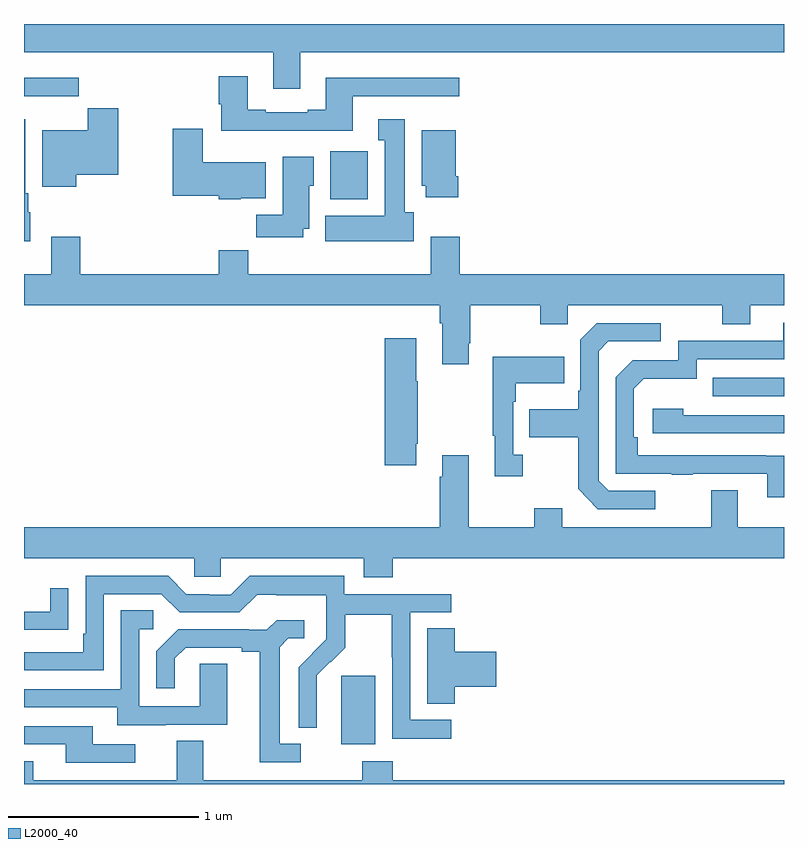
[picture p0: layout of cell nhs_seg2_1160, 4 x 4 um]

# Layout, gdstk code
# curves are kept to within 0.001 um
import gdstk
lib = gdstk.Library(unit=1e-6, precision=1e-09)
def R(c, l, rs):  # rectangles x0, y0, x1, y1
    for r in rs: c.add(gdstk.rectangle(r[:2], r[2:], *l))
def P(c, l, *ps):  # polygons
    for p in ps: c.add(gdstk.Polygon(p, *l))
L2000_40 = (2000, 40)

nhs_seg2_1160 = lib.new_cell('nhs_seg2_1160')
R(nhs_seg2_1160, L2000_40, [(172.67,628.01,172.849,628.371), (174.625,629.841,175,629.937), (172.613,630.878,172.809,631.129)])
P(nhs_seg2_1160, L2000_40, [(172.453,631.652),(175,631.652),(175,631.8),(171,631.8),(171,631.652),(172.313,631.652),(172.313,631.458),(172.453,631.458)],
  [(172.729,631.419),(173.29,631.419),(173.29,631.516),(172.589,631.516),(172.589,631.348),(172.493,631.348),(172.493,631.335),(172.273,631.335),(172.273,631.348),(172.177,631.348),(172.177,631.525),(172.025,631.525),(172.025,631.377),(172.037,631.377),(172.037,631.238),(172.729,631.238)],
  [(171.179,631.421),(171.288,631.421),(171.288,631.516),(171,631.516),(171,631.419),(171.179,631.419)],
  [(171.274,631.007),(171.496,631.007),(171.496,631.356),(171.335,631.356),(171.335,631.24),(171.095,631.24),(171.095,630.944),(171.274,630.944)],
  [(171.034,630.81),(171.022,630.81),(171.022,630.91),(171.007,630.91),(171.007,631.3),(171,631.3),(171,630.656),(171.034,630.656)],
  [(173.05,630.81),(173.005,630.81),(173.005,631.3),(172.865,631.3),(172.865,631.187),(172.898,631.187),(172.898,630.79),(172.586,630.79),(172.586,630.656),(173.05,630.656)],
  [(172.14,630.884),(172.273,630.884),(172.273,631.072),(171.94,631.072),(171.94,631.249),(171.782,631.249),(171.782,630.896),(172.026,630.896),(172.026,630.878),(172.14,630.878)],
  [(173.285,631),(173.272,631),(173.272,631.24),(173.093,631.24),(173.093,630.948),(173.114,630.948),(173.114,630.888),(173.285,630.888)],
  [(172.471,630.722),(172.501,630.722),(172.501,630.948),(172.525,630.948),(172.525,631.102),(172.361,631.102),(172.361,630.796),(172.222,630.796),(172.222,630.678),(172.471,630.678)],
  [(173.341,630.121),(173.349,630.121),(173.349,630.32),(173.716,630.32),(173.716,630.221),(173.862,630.221),(173.862,630.32),(174.676,630.32),(174.676,630.221),(174.823,630.221),(174.823,630.32),(175,630.32),(175,630.484),(173.294,630.484),(173.294,630.679),(173.141,630.679),(173.141,630.484),(172.181,630.484),(172.181,630.608),(172.025,630.608),(172.025,630.484),(171.296,630.484),(171.296,630.679),(171.143,630.679),(171.143,630.484),(171,630.484),(171,630.32),(173.189,630.32),(173.189,630.224),(173.201,630.224),(173.201,630.009),(173.341,630.009)],
  [(175,629.528),(174.23,629.529),(174.23,629.626),(174.21,629.626),(174.21,629.88),(174.263,629.933),(174.54,629.933),(174.54,630.036),(175,630.036),(175,630.228),(174.995,630.228),(174.995,630.132),(174.444,630.132),(174.444,630.03),(174.204,630.03),(174.114,629.94),(174.114,629.433),(174.409,629.433),(174.409,629.428),(174.521,629.428),(174.521,629.433),(174.911,629.433),(174.911,629.31),(175,629.31)],
  [(174.322,629.343),(174.078,629.343),(174.024,629.397),(174.024,630.078),(174.075,630.129),(174.352,630.129),(174.352,630.225),(174.015,630.225),(173.928,630.138),(173.928,629.869),(173.916,629.869),(173.916,629.773),(173.659,629.773),(173.659,629.626),(173.916,629.626),(173.916,629.353),(174.021,629.247),(174.322,629.247)],
  [(173.065,629.59),(173.073,629.59),(173.073,629.921),(173.065,629.921),(173.065,630.145),(172.898,630.145),(172.898,629.478),(173.065,629.478)],
  [(173.626,629.534),(173.574,629.534),(173.574,629.813),(173.587,629.813),(173.587,629.909),(173.843,629.909),(173.843,630.049),(173.466,630.049),(173.466,629.633),(173.477,629.633),(173.477,629.421),(173.626,629.421)],
  [(175,629.742),(174.47,629.742),(174.47,629.776),(174.309,629.776),(174.309,629.646),(175,629.646)],
  [(175,629.152),(174.757,629.152),(174.757,629.347),(174.617,629.347),(174.617,629.152),(173.833,629.152),(173.833,629.251),(173.686,629.251),(173.686,629.152),(173.341,629.152),(173.341,629.53),(173.201,629.53),(173.201,629.417),(173.189,629.417),(173.189,629.152),(171,629.152),(171,628.988),(171.897,628.988),(171.897,628.89),(172.035,628.89),(172.035,628.988),(172.787,628.988),(172.787,628.889),(172.94,628.889),(172.94,628.988),(175,628.988)],
  [(173.248,628.137),(173.034,628.137),(173.034,628.704),(173.248,628.704),(173.248,628.8),(172.686,628.8),(172.686,628.897),(172.189,628.897),(172.089,628.797),(171.974,628.797),(171.974,628.8),(171.855,628.8),(171.759,628.896),(171.324,628.896),(171.324,628.591),(171.311,628.591),(171.311,628.494),(171,628.494),(171,628.398),(171.42,628.398),(171.42,628.8),(171.723,628.8),(171.819,628.704),(172.134,628.704),(172.227,628.797),(172.327,628.797),(172.327,628.793),(172.59,628.793),(172.59,628.659),(172.592,628.659),(172.592,628.562),(172.446,628.414),(172.446,628.096),(172.542,628.096),(172.541,628.373),(172.611,628.443),(172.614,628.44),(172.691,628.517),(172.691,628.692),(172.936,628.692),(172.936,628.468),(172.938,628.468),(172.938,628.039),(173.248,628.039)],
  [(171.131,628.612),(171.233,628.612),(171.233,628.831),(171.137,628.831),(171.137,628.707),(171,628.707),(171,628.611),(171.131,628.611)],
  [(171.745,628.113),(172.069,628.113),(172.069,628.433),(171.924,628.433),(171.924,628.209),(171.606,628.209),(171.606,628.614),(171.679,628.614),(171.679,628.715),(171.51,628.715),(171.51,628.299),(171,628.299),(171,628.203),(171.491,628.203),(171.491,628.109),(171.745,628.109)],
  [(172.456,628.011),(172.345,628.011),(172.345,628.519),(172.392,628.566),(172.474,628.566),(172.474,628.663),(172.33,628.663),(172.278,628.611),(172.184,628.611),(172.184,628.614),(171.812,628.614),(171.696,628.498),(171.696,628.305),(171.793,628.305),(171.793,628.461),(171.85,628.518),(172.145,628.518),(172.145,628.496),(172.241,628.496),(172.241,627.915),(172.456,627.915)],
  [(173.267,628.313),(173.485,628.313),(173.485,628.496),(173.267,628.496),(173.267,628.619),(173.123,628.619),(173.123,628.222),(173.267,628.222)],
  [(171.586,628.008),(171.361,628.008),(171.361,628.104),(171,628.104),(171,628.008),(171.221,628.008),(171.221,627.912),(171.586,627.912)],
  [(175,627.82),(172.94,627.82),(172.94,627.919),(172.78,627.919),(172.78,627.82),(171.943,627.82),(171.943,628.028),(171.803,628.028),(171.803,627.82),(171.049,627.82),(171.049,627.919),(171,627.919),(171,627.8),(175,627.8)])

lib.write_gds('nhs_seg2_1160.gds')
